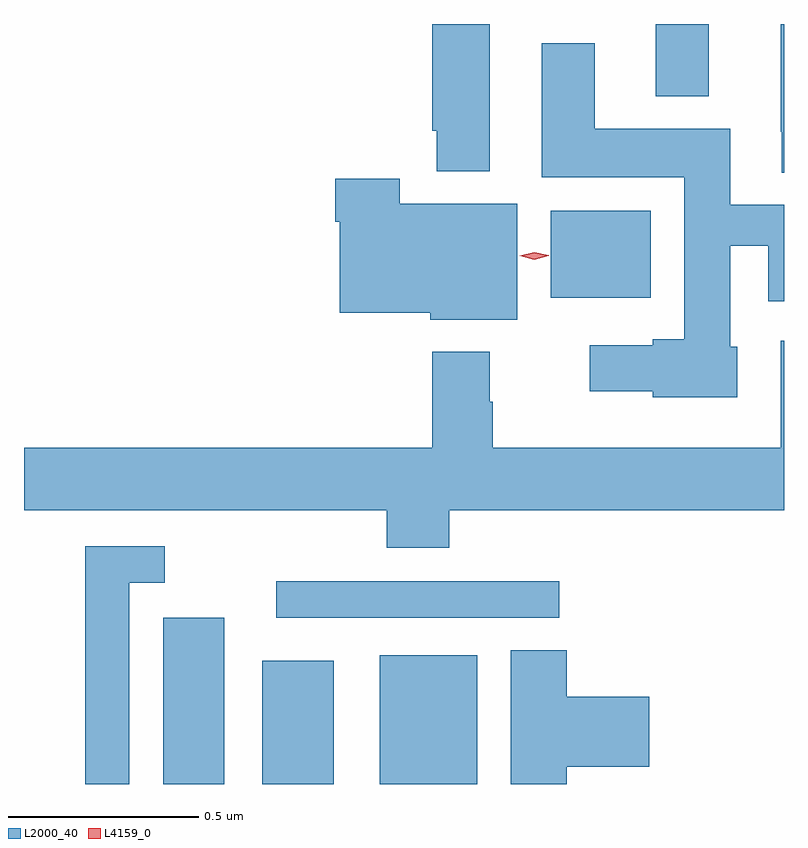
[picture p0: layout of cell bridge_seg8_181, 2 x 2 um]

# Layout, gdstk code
import gdstk
lib = gdstk.Library(unit=1e-6, precision=1e-09)
def R(c, l, rs):  # rectangles x0, y0, x1, y1
    for r in rs: c.add(gdstk.rectangle(r[:2], r[2:], *l))
def P(c, l, *ps):  # polygons
    for p in ps: c.add(gdstk.Polygon(p, *l))
L2000_40 = (2000, 40)
L4159_0 = (4159, 0)

bridge_seg8_181 = lib.new_cell('bridge_seg8_181')
R(bridge_seg8_181, L2000_40, [(330.491,1093.135,330.652,1093.573), (330.752,1093.135,330.94,1093.459), (331.061,1093.135,331.318,1093.474), (330.789,1093.572,331.534,1093.668), (331.511,1094.414,331.774,1094.644), (331.787,1094.945,331.927,1095.135)])
P(bridge_seg8_181, L2000_40, [(331.351,1095.135),(331.199,1095.135),(331.199,1094.854),(331.211,1094.854),(331.211,1094.747),(331.351,1094.747)],
  [(332.125,1095.135),(332.117,1095.135),(332.117,1094.851),(332.119,1094.851),(332.119,1094.744),(332.125,1094.744)],
  [(332.002,1094.286),(331.984,1094.286),(331.984,1094.551),(332.084,1094.551),(332.084,1094.405),(332.125,1094.405),(332.125,1094.659),(331.984,1094.659),(331.984,1094.86),(331.627,1094.86),(331.627,1095.085),(331.487,1095.085),(331.487,1094.732),(331.862,1094.732),(331.862,1094.305),(331.779,1094.305),(331.779,1094.29),(331.614,1094.29),(331.614,1094.168),(331.779,1094.168),(331.779,1094.153),(332.002,1094.153)],
  [(331.423,1094.662),(331.114,1094.662),(331.114,1094.728),(330.944,1094.728),(330.944,1094.615),(330.956,1094.615),(330.956,1094.375),(331.194,1094.375),(331.194,1094.357),(331.423,1094.357)],
  [(331.244,1093.856),(332.125,1093.856),(332.125,1094.302),(332.117,1094.302),(332.117,1094.02),(331.359,1094.02),(331.359,1094.141),(331.351,1094.141),(331.351,1094.272),(331.199,1094.272),(331.199,1094.02),(330.125,1094.02),(330.125,1093.856),(331.079,1093.856),(331.079,1093.757),(331.244,1093.757)],
  [(330.402,1093.665),(330.496,1093.665),(330.496,1093.761),(330.286,1093.761),(330.286,1093.135),(330.402,1093.135)],
  [(331.553,1093.181),(331.771,1093.181),(331.771,1093.364),(331.553,1093.364),(331.553,1093.487),(331.406,1093.487),(331.406,1093.135),(331.553,1093.135)])
P(bridge_seg8_181, L4159_0, [(331.468,1094.515),(331.429,1094.525),(331.429,1094.525),(331.429,1094.525),(331.468,1094.535),(331.506,1094.526),(331.506,1094.526),(331.506,1094.525)])

lib.write_gds('bridge_seg8_181.gds')
